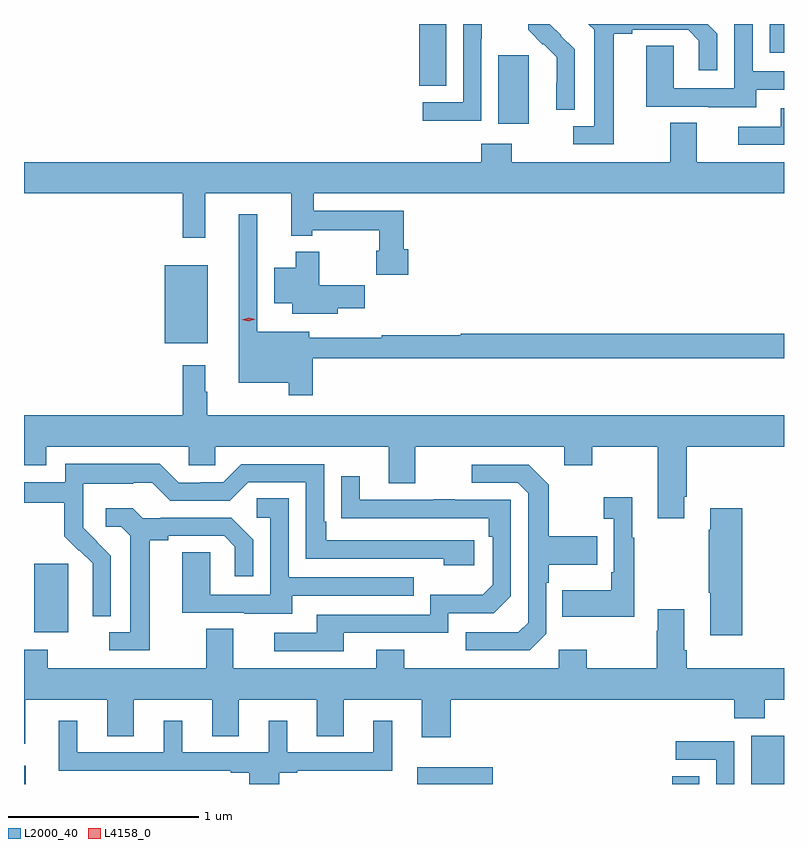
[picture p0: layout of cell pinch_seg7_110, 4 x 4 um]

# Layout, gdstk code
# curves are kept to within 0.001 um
import gdstk
lib = gdstk.Library(unit=1e-6, precision=1e-09)
def R(c, l, rs):  # rectangles x0, y0, x1, y1
    for r in rs: c.add(gdstk.rectangle(r[:2], r[2:], *l))
def P(c, l, *ps):  # polygons
    for p in ps: c.add(gdstk.Polygon(p, *l))
L2000_40 = (2000, 40)
L4158_0 = (4158, 0)

pinch_seg7_110 = lib.new_cell('pinch_seg7_110')
R(pinch_seg7_110, L2000_40, [(922.955,1013.492,922.963,1013.587), (925.025,1013.492,925.421,1013.581), (926.366,1013.492,926.509,1013.534), (926.783,1013.492,926.955,1013.746), (923.009,1014.29,923.188,1014.651), (923.696,1015.811,923.923,1016.221), (925.451,1016.967,925.612,1017.328), (925.034,1017.166,925.177,1017.492), (926.88,1017.342,926.955,1017.492)])
P(pinch_seg7_110, L2000_40, [(926.809,1017.147),(926.955,1017.147),(926.955,1017.243),(926.79,1017.243),(926.79,1017.492),(926.694,1017.492),(926.694,1017.153),(926.376,1017.153),(926.376,1017.377),(926.231,1017.377),(926.231,1017.057),(926.555,1017.057),(926.555,1017.053),(926.809,1017.053)],
  [(925.854,1017.358),(925.722,1017.492),(925.609,1017.492),(925.609,1017.461),(925.686,1017.384),(925.689,1017.387),(925.76,1017.317),(925.76,1017.182),(925.757,1017.182),(925.757,1017.04),(925.854,1017.04)],
  [(925.362,1017.415),(925.365,1017.415),(925.365,1017.492),(925.266,1017.492),(925.266,1017.081),(925.053,1017.081),(925.053,1016.983),(925.362,1016.983)],
  [(926.059,1017.44),(926.155,1017.44),(926.155,1017.462),(926.45,1017.462),(926.507,1017.405),(926.507,1017.249),(926.604,1017.249),(926.604,1017.442),(926.554,1017.492),(925.926,1017.492),(925.955,1017.463),(925.955,1016.955),(925.845,1016.955),(925.845,1016.859),(926.059,1016.859)],
  [(926.955,1017.048),(926.939,1017.048),(926.939,1016.952),(926.715,1016.952),(926.715,1016.856),(926.955,1016.856)],
  [(924.977,1016.307),(924.953,1016.307),(924.953,1016.508),(924.479,1016.508),(924.479,1016.6),(926.955,1016.6),(926.955,1016.764),(926.497,1016.764),(926.497,1016.972),(926.357,1016.972),(926.357,1016.764),(925.521,1016.764),(925.521,1016.863),(925.361,1016.863),(925.361,1016.764),(922.955,1016.764),(922.955,1016.6),(923.791,1016.6),(923.791,1016.367),(923.909,1016.367),(923.909,1016.6),(924.362,1016.6),(924.362,1016.378),(924.472,1016.378),(924.472,1016.407),(924.825,1016.407),(924.825,1016.299),(924.809,1016.299),(924.809,1016.172),(924.977,1016.172)],
  [(924.476,1015.734),(926.955,1015.734),(926.955,1015.862),(925.253,1015.862),(925.253,1015.855),(924.838,1015.855),(924.838,1015.842),(924.457,1015.842),(924.457,1015.873),(924.183,1015.873),(924.183,1016.491),(924.086,1016.491),(924.086,1015.604),(924.348,1015.604),(924.348,1015.539),(924.476,1015.539)],
  [(924.607,1015.997),(924.749,1015.997),(924.749,1016.117),(924.508,1016.117),(924.508,1016.293),(924.386,1016.293),(924.386,1016.209),(924.272,1016.209),(924.272,1016.021),(924.366,1016.021),(924.366,1015.967),(924.607,1015.967)],
  [(926.431,1015.003),(926.444,1015.003),(926.444,1015.268),(926.955,1015.268),(926.955,1015.432),(923.92,1015.432),(923.92,1015.556),(923.908,1015.556),(923.908,1015.696),(923.791,1015.696),(923.791,1015.432),(922.955,1015.432),(922.955,1015.169),(923.071,1015.169),(923.071,1015.268),(923.823,1015.268),(923.823,1015.17),(923.961,1015.17),(923.961,1015.268),(924.875,1015.268),(924.875,1015.074),(925.015,1015.074),(925.015,1015.268),(925.799,1015.268),(925.799,1015.169),(925.947,1015.169),(925.947,1015.268),(926.291,1015.268),(926.291,1014.891),(926.431,1014.891)],
  [(923.412,1014.694),(923.266,1014.842),(923.266,1014.939),(923.268,1014.939),(923.268,1015.073),(923.531,1015.073),(923.531,1015.077),(923.631,1015.077),(923.724,1014.984),(924.039,1014.984),(924.135,1015.08),(924.438,1015.08),(924.438,1014.678),(925.163,1014.678),(925.163,1014.644),(925.324,1014.644),(925.324,1014.774),(924.547,1014.774),(924.547,1014.871),(924.534,1014.871),(924.534,1015.176),(924.099,1015.176),(924.003,1015.08),(923.885,1015.08),(923.885,1015.077),(923.769,1015.077),(923.669,1015.177),(923.172,1015.177),(923.172,1015.08),(922.955,1015.08),(922.955,1014.972),(923.167,1014.972),(923.167,1014.797),(923.244,1014.72),(923.247,1014.723),(923.318,1014.653),(923.318,1014.53),(923.316,1014.53),(923.316,1014.376),(923.412,1014.376)],
  [(925.704,1014.282),(925.704,1014.551),(925.717,1014.551),(925.717,1014.647),(925.973,1014.647),(925.973,1014.795),(925.717,1014.795),(925.717,1015.067),(925.611,1015.173),(925.311,1015.173),(925.311,1015.077),(925.554,1015.077),(925.608,1015.023),(925.608,1014.342),(925.557,1014.291),(925.281,1014.291),(925.281,1014.195),(925.617,1014.195)],
  [(924.637,1014.288),(925.188,1014.288),(925.188,1014.39),(925.428,1014.39),(925.518,1014.48),(925.518,1014.987),(925.223,1014.987),(925.223,1014.992),(925.111,1014.992),(925.111,1014.987),(924.721,1014.987),(924.721,1015.111),(924.625,1015.111),(924.625,1014.892),(925.402,1014.891),(925.402,1014.794),(925.422,1014.794),(925.422,1014.54),(925.369,1014.487),(925.092,1014.487),(925.092,1014.384),(924.497,1014.384),(924.497,1014.288),(924.273,1014.288),(924.273,1014.192),(924.637,1014.192)],
  [(926.167,1014.787),(926.155,1014.787),(926.155,1015),(926.007,1015),(926.007,1014.887),(926.058,1014.887),(926.058,1014.607),(926.046,1014.607),(926.046,1014.511),(925.789,1014.511),(925.789,1014.371),(926.167,1014.371)],
  [(924.367,1014.483),(925.007,1014.483),(925.007,1014.579),(924.348,1014.579),(924.348,1014.995),(924.18,1014.995),(924.18,1014.894),(924.252,1014.894),(924.252,1014.489),(923.934,1014.489),(923.934,1014.713),(923.789,1014.713),(923.789,1014.393),(924.113,1014.393),(924.113,1014.389),(924.367,1014.389)],
  [(926.735,1014.943),(926.567,1014.943),(926.567,1014.83),(926.56,1014.83),(926.56,1014.499),(926.567,1014.499),(926.567,1014.276),(926.735,1014.276)],
  [(923.617,1014.776),(923.713,1014.776),(923.713,1014.798),(924.008,1014.798),(924.065,1014.741),(924.065,1014.585),(924.162,1014.585),(924.162,1014.778),(924.046,1014.894),(923.674,1014.894),(923.674,1014.891),(923.58,1014.891),(923.528,1014.943),(923.385,1014.943),(923.385,1014.846),(923.466,1014.846),(923.513,1014.799),(923.513,1014.291),(923.403,1014.291),(923.403,1014.195),(923.617,1014.195)],
  [(924.055,1014.308),(923.915,1014.308),(923.915,1014.1),(923.079,1014.1),(923.079,1014.199),(922.955,1014.199),(922.955,1013.703),(922.961,1013.703),(922.961,1013.936),(923.393,1013.936),(923.393,1013.743),(923.533,1013.743),(923.533,1013.936),(923.945,1013.936),(923.945,1013.743),(924.085,1013.743),(924.085,1013.936),(924.497,1013.936),(924.497,1013.743),(924.637,1013.743),(924.637,1013.936),(925.049,1013.936),(925.049,1013.739),(925.202,1013.739),(925.202,1013.936),(926.693,1013.936),(926.693,1013.837),(926.853,1013.837),(926.853,1013.936),(926.955,1013.936),(926.955,1014.1),(926.444,1014.1),(926.444,1014.196),(926.431,1014.196),(926.431,1014.412),(926.291,1014.412),(926.291,1014.299),(926.284,1014.299),(926.284,1014.1),(925.917,1014.1),(925.917,1014.199),(925.77,1014.199),(925.77,1014.1),(924.957,1014.1),(924.957,1014.199),(924.809,1014.199),(924.809,1014.1),(924.055,1014.1)],
  [(924.298,1013.55),(924.394,1013.55),(924.394,1013.562),(924.892,1013.562),(924.892,1013.824),(924.794,1013.824),(924.794,1013.658),(924.34,1013.658),(924.34,1013.824),(924.242,1013.824),(924.242,1013.658),(923.788,1013.658),(923.788,1013.824),(923.69,1013.824),(923.69,1013.658),(923.236,1013.658),(923.236,1013.824),(923.138,1013.824),(923.138,1013.562),(924.044,1013.562),(924.044,1013.55),(924.14,1013.55),(924.14,1013.492),(924.298,1013.492)],
  [(926.694,1013.718),(926.385,1013.718),(926.385,1013.619),(926.598,1013.619),(926.598,1013.492),(926.694,1013.492)])
P(pinch_seg7_110, L4158_0, [(924.137,1015.927),(924.101,1015.935),(924.101,1015.935),(924.101,1015.936),(924.137,1015.947),(924.173,1015.938),(924.173,1015.938),(924.173,1015.938)])

lib.write_gds('pinch_seg7_110.gds')
